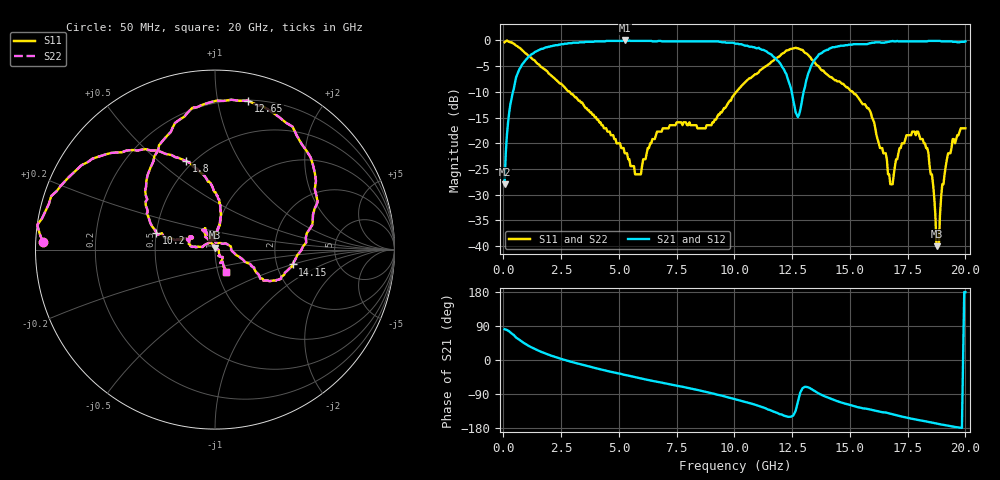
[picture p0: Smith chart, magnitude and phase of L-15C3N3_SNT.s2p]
# MHZ S MA R 50
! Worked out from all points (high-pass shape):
!   400 points, 50 MHz to 20 GHz, reference 50 ohm
!   highest |S21| = 0.00 dB at 5.25 GHz (marker M1); lowest = -28.0 dB at 50 MHz (marker M2)
!   |S21| within 3 dB of the highest: 1.14 GHz to 11.66 GHz (10.52 GHz wide, 164 % of centre); 13.61 GHz to end of sweep
!   lowest |S11| = -40.0 dB at 18.75 GHz (marker M3), VSWR 1.02, Z = 49.9 + j0.995 ohm
!   |S11| at or under -10 dB: 2.869 GHz to 10.08 GHz (7.213 GHz wide, 111 % of centre); 15.12 GHz to end of sweep
!   |S22| runs from -40.0 to 0.0 dB; largest |S21 - S12| = 0
!   S11 on the Smith chart (normalised r, x): 50 MHz: 0.02, +0.02; 1.8 GHz: 0.46, +0.62; 10.2 GHz: 0.50, +0.11; 12.65 GHz: 0.20, +1.23; 14.15 GHz: 2.45, -0.50; 20 GHz: 1.10, -0.28
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50  0.96 177.6  0.04 81.3  0.04 81.3  0.96 177.6
550  0.89 150.0  0.44 59.1  0.44 59.1  0.89 150.0
1800  0.52 108.2  0.85 17.6  0.85 17.6  0.52 108.2
3400  0.25 83.2  0.96 -12.5  0.96 -12.5  0.25 83.2
5250  0.08 91.1  1 -39.4  1 -39.4  0.08 91.1
6700  0.13 173.0  0.99 -57.9  0.99 -57.9  0.13 173.0
10050  0.31 162.8  0.93 -103.6  0.93 -103.6  0.31 162.8
10200  0.34 163.9  0.92 -105.9  0.92 -105.9  0.34 163.9
11750  0.66 118.2  0.68 -137.4  0.68 -137.4  0.66 118.2
12650  0.85 77.5  0.2 -134.3  0.2 -134.3  0.85 77.5
13350  0.65 31.2  0.58 -77.3  0.58 -77.3  0.65 31.2
14150  0.44 -10.8  0.84 -101.8  0.84 -101.8  0.44 -10.8
15800  0.22 -23.3  0.93 -129.6  0.93 -129.6  0.22 -23.3
16700  0.05 52.3  0.97 -140.9  0.97 -140.9  0.05 52.3
17950  0.13 123.1  0.98 -158.5  0.98 -158.5  0.13 123.1
18550  0.05 125.5  0.99 -165.1  0.99 -165.1  0.05 125.5
18750  0.01 94.8  0.99 -167.5  0.99 -167.5  0.01 94.8
19250  0.08 -69.3  0.98 -173.3  0.98 -173.3  0.08 -69.3
19850  0.14 -61.1  0.97 -179.2  0.97 -179.2  0.14 -61.1
19900  0.14 -62.1  0.97 0.1  0.97 0.1  0.14 -62.1
19950  0.14 -63.0  0.97 179.4  0.97 179.4  0.14 -63.0
20000  0.14 -63.0  0.98 179.1  0.98 179.1  0.14 -63.0
